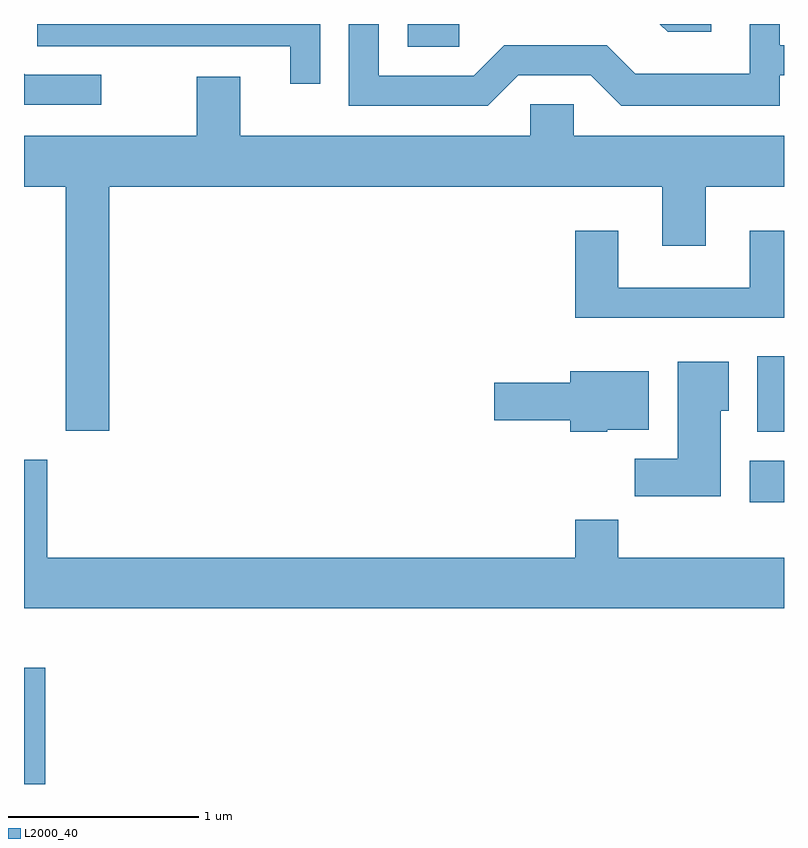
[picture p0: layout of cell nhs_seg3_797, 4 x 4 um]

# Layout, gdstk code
import gdstk
lib = gdstk.Library(unit=1e-6, precision=1e-09)
def R(c, l, rs):  # rectangles x0, y0, x1, y1
    for r in rs: c.add(gdstk.rectangle(r[:2], r[2:], *l))
def P(c, l, *ps):  # polygons
    for p in ps: c.add(gdstk.Polygon(p, *l))
L2000_40 = (2000, 40)

nhs_seg3_797 = lib.new_cell('nhs_seg3_797')
R(nhs_seg3_797, L2000_40, [(207.611,1213.892,207.724,1214.504), (211.431,1215.376,211.611,1215.594), (211.471,1215.746,211.611,1216.144), (209.631,1217.771,209.903,1217.892)])
P(nhs_seg3_797, L2000_40, [(209.169,1217.892),(207.681,1217.892),(207.681,1217.776),(209.011,1217.776),(209.011,1217.578),(209.169,1217.578)],
  [(210.212,1217.621),(210.594,1217.621),(210.754,1217.461),(211.589,1217.461),(211.589,1217.621),(211.611,1217.621),(211.611,1217.779),(211.589,1217.779),(211.589,1217.892),(211.431,1217.892),(211.431,1217.629),(210.827,1217.629),(210.677,1217.779),(210.139,1217.779),(209.979,1217.619),(209.479,1217.619),(209.479,1217.892),(209.321,1217.892),(209.321,1217.461),(210.052,1217.461)],
  [(211.228,1217.892),(210.958,1217.892),(210.999,1217.851),(211.228,1217.851)],
  [(208.018,1217.624),(207.617,1217.624),(207.611,1217.63),(207.611,1217.466),(208.018,1217.466)],
  [(208.059,1217.036),(210.971,1217.036),(210.971,1216.726),(211.199,1216.726),(211.199,1217.036),(211.611,1217.036),(211.611,1217.304),(210.504,1217.304),(210.504,1217.469),(210.276,1217.469),(210.276,1217.304),(208.749,1217.304),(208.749,1217.614),(208.521,1217.614),(208.521,1217.304),(207.611,1217.304),(207.611,1217.036),(207.831,1217.036),(207.831,1215.751),(208.059,1215.751)],
  [(211.611,1216.804),(211.431,1216.804),(211.431,1216.504),(210.739,1216.504),(210.739,1216.804),(210.511,1216.804),(210.511,1216.346),(211.611,1216.346)],
  [(211.279,1215.856),(211.319,1215.856),(211.319,1216.114),(211.051,1216.114),(211.051,1215.604),(210.826,1215.604),(210.826,1215.406),(211.279,1215.406)],
  [(210.68,1215.756),(210.899,1215.756),(210.899,1216.064),(210.486,1216.064),(210.486,1216.004),(210.086,1216.004),(210.086,1215.806),(210.486,1215.806),(210.486,1215.746),(210.68,1215.746)],
  [(211.611,1215.084),(210.739,1215.084),(210.739,1215.284),(210.511,1215.284),(210.511,1215.084),(207.734,1215.084),(207.734,1215.599),(207.611,1215.599),(207.611,1214.816),(211.611,1214.816)])

lib.write_gds('nhs_seg3_797.gds')
